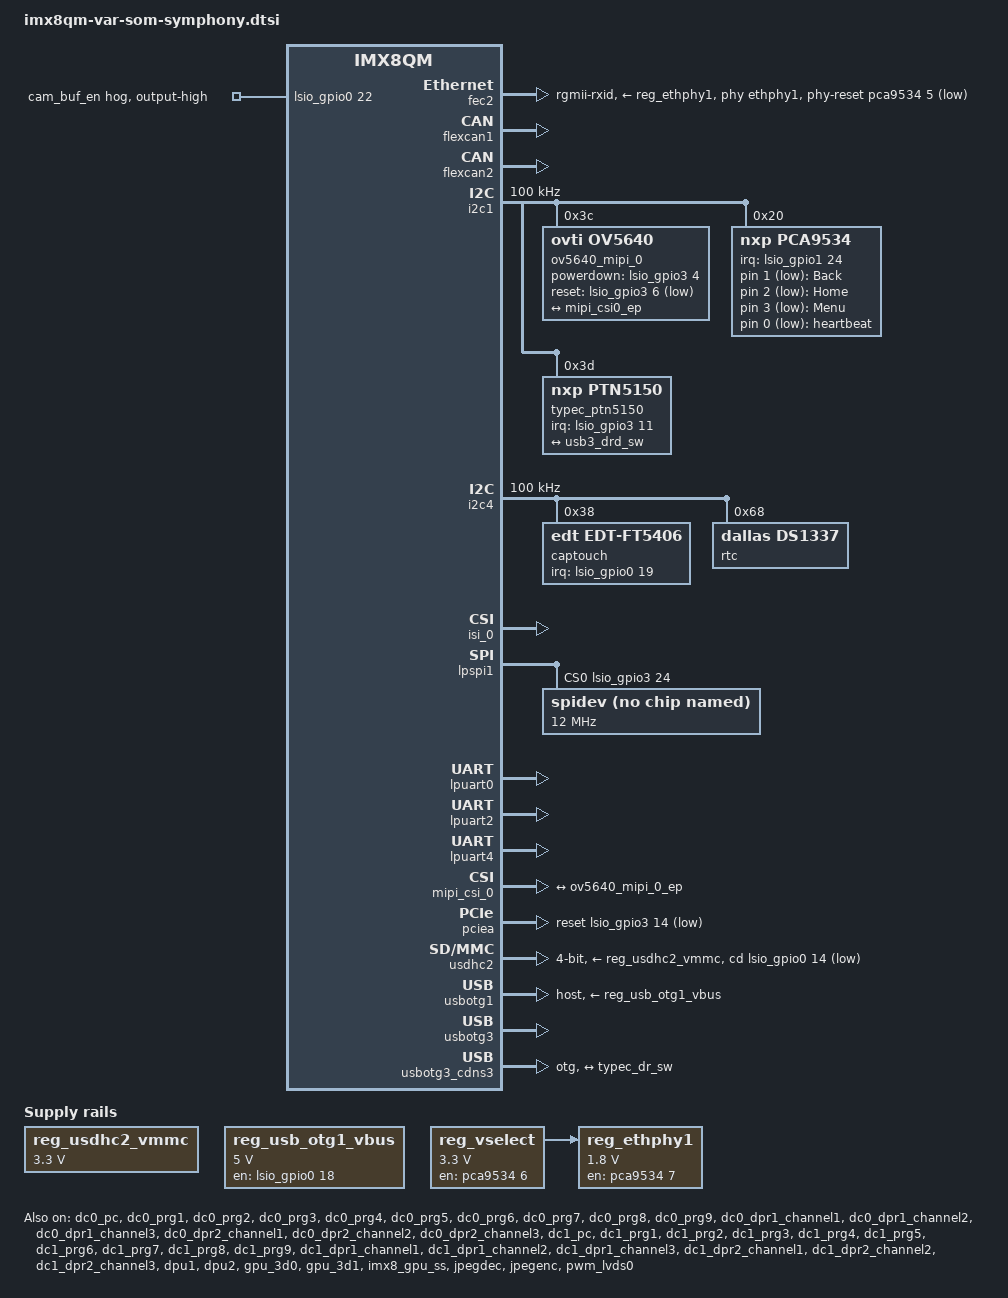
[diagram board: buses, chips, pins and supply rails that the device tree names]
/*
 * Copyright (C) 2016 Freescale Semiconductor, Inc.
 * Copyright 2017 NXP
 * Copyright 2019-2022 Variscite Ltd.
 *
 * This program is free software; you can redistribute it and/or
 * modify it under the terms of the GNU General Public License
 * as published by the Free Software Foundation; either version 2
 * of the License, or (at your option) any later version.
 *
 * This program is distributed in the hope that it will be useful,
 * but WITHOUT ANY WARRANTY; without even the implied warranty of
 * MERCHANTABILITY or FITNESS FOR A PARTICULAR PURPOSE.  See the
 * GNU General Public License for more details.
 */

#include "imx8qm-var-som.dtsi"

/ {
	chosen {
		stdout-path = &lpuart0;
	};

        gpio-keys {
                compatible = "gpio-keys";

                back {
			label = "Back";
			gpios = <&pca9534 1 GPIO_ACTIVE_LOW>;
			linux,code = <KEY_BACK>;
                };

		home {
			label = "Home";
			gpios = <&pca9534 2 GPIO_ACTIVE_LOW>;
			linux,code = <KEY_HOME>;
		};

                menu {
			label = "Menu";
			gpios = <&pca9534 3 GPIO_ACTIVE_LOW>;
			linux,code = <KEY_MENU>;
                };
        };

        leds {
                compatible = "gpio-leds";
                status = "okay";

		heartbeat {
			label = "heartbeat";
			gpios = <&pca9534 0 GPIO_ACTIVE_LOW>;
			linux,default-trigger = "heartbeat";
		};
	};

	regulators: regulators {
		reg_ethphy1: regulator-ethphy1 {
			compatible = "regulator-fixed";
			vin-supply = <&reg_vselect>;
			regulator-name = "reg_ethphy1";
			regulator-min-microvolt = <1800000>;
			regulator-max-microvolt = <1800000>;
			gpio = <&pca9534 7 GPIO_ACTIVE_HIGH>;
			enable-active-high;
			regulator-always-on;
		};

		reg_usdhc2_vmmc: usdhc2_vmmc {
			compatible = "regulator-fixed";
			regulator-name = "sw-3p3-sd1";
			regulator-min-microvolt = <3300000>;
			regulator-max-microvolt = <3300000>;
			regulator-always-on;
		};

		reg_usb_otg1_vbus: usb_otg1_vbus {
			compatible = "regulator-fixed";
			regulator-name = "usb_otg1_vbus";
			regulator-min-microvolt = <5000000>;
			regulator-max-microvolt = <5000000>;
			gpio = <&lsio_gpio0 18 GPIO_ACTIVE_HIGH>;
			enable-active-high;
		};

		reg_vselect: regulator-vselect {
			compatible = "regulator-fixed";
			regulator-name = "reg_vselect";
			regulator-min-microvolt = <3300000>;
			regulator-max-microvolt = <3300000>;
			regulator-always-on;
			gpio = <&pca9534 6 GPIO_ACTIVE_HIGH>;
			enable-active-high;
		};
	};
};

&dc0_pc {
	status = "okay";
};

&dc0_prg1 {
	status = "okay";
};

&dc0_prg2 {
	status = "okay";
};

&dc0_prg3 {
	status = "okay";
};

&dc0_prg4 {
	status = "okay";
};

&dc0_prg5 {
	status = "okay";
};

&dc0_prg6 {
	status = "okay";
};

&dc0_prg7 {
	status = "okay";
};

&dc0_prg8 {
	status = "okay";
};

&dc0_prg9 {
	status = "okay";
};

&dc0_dpr1_channel1 {
	status = "okay";
};

&dc0_dpr1_channel2 {
	status = "okay";
};

&dc0_dpr1_channel3 {
	status = "okay";
};

&dc0_dpr2_channel1 {
	status = "okay";
};

&dc0_dpr2_channel2 {
	status = "okay";
};

&dc0_dpr2_channel3 {
	status = "okay";
};

&dc1_pc {
	status = "okay";
};

&dc1_prg1 {
	status = "okay";
};

&dc1_prg2 {
	status = "okay";
};

&dc1_prg3 {
	status = "okay";
};

&dc1_prg4 {
	status = "okay";
};

&dc1_prg5 {
	status = "okay";
};

&dc1_prg6 {
	status = "okay";
};

&dc1_prg7 {
	status = "okay";
};

&dc1_prg8 {
	status = "okay";
};

&dc1_prg9 {
	status = "okay";
};

&dc1_dpr1_channel1 {
	status = "okay";
};

&dc1_dpr1_channel2 {
	status = "okay";
};

&dc1_dpr1_channel3 {
	status = "okay";
};

&dc1_dpr2_channel1 {
	status = "okay";
};

&dc1_dpr2_channel2 {
	status = "okay";
};

&dc1_dpr2_channel3 {
	status = "okay";
};

&dpu1 {
	status = "okay";
};

&dpu2 {
	status = "okay";
};

&fec2 {
	pinctrl-names = "default";
	pinctrl-0 = <&pinctrl_fec2>;
	phy-mode = "rgmii-rxid";
	phy-handle = <&ethphy1>;
	fsl,magic-packet;
	phy-supply = <&reg_ethphy1>;
	phy-reset-gpios = <&pca9534 5 GPIO_ACTIVE_LOW>;
	phy-reset-duration = <10>;
	phy-reset-post-delay = <20>;
	status = "okay";
};

&flexcan1 {
	pinctrl-names = "default";
	pinctrl-0 = <&pinctrl_flexcan1>;
	status = "okay";
};

&flexcan2 {
	pinctrl-names = "default";
	pinctrl-0 = <&pinctrl_flexcan2>;
	status = "okay";
};

&flexspi0 {
	status = "disabled";
};

&gpu_3d0 {
	status = "okay";
};

&gpu_3d1 {
	status = "okay";
};

&i2c1 {
	#address-cells = <1>;
	#size-cells = <0>;
	clock-frequency = <100000>;
	pinctrl-names = "default";
	pinctrl-0 = <&pinctrl_i2c1>;
	status = "okay";

	/* MIPI-CSI2 sensor */
	ov5640_mipi_0: ov5640_mipi@3c {
		compatible = "ovti,ov5640";
		reg = <0x3c>;
		pinctrl-names = "default";
		pinctrl-0 = <&pinctrl_mipicsi0>;
		clocks = <&xtal24m>;
		clock-names = "xclk";
		csi_id = <0>;
		powerdown-gpios = <&lsio_gpio3 4 GPIO_ACTIVE_HIGH>;
		reset-gpios = <&lsio_gpio3 6 GPIO_ACTIVE_LOW>;
		mclk = <24000000>;
		mclk_source = <0>;
		mipi_csi;
		status = "okay";
		port {
			ov5640_mipi_0_ep: endpoint {
				remote-endpoint = <&mipi_csi0_ep>;
				data-lanes = <1 2>;
				clocks-lanes = <0>;
			};
		};
	};

	/* GPIO Expander */
        pca9534: gpio@20 {
                compatible = "nxp,pca9534";
                reg = <0x20>;
                pinctrl-names = "default";
                pinctrl-0 = <&pinctrl_pca9534>;
                interrupt-parent = <&lsio_gpio1>;
                interrupts = <24 IRQ_TYPE_LEVEL_LOW>;
		gpio-controller;
		#gpio-cells = <2>;
		status ="okay";
        };

	/* USB Type-C Controller */
	typec_ptn5150: typec@3d {
		compatible = "nxp,ptn5150";
		pinctrl-names = "default";
		pinctrl-0 = <&pinctrl_ptn5150>;
		reg = <0x3d>;
		interrupt-parent = <&lsio_gpio3>;
		interrupts = <11 IRQ_TYPE_LEVEL_HIGH>;
		irq-is-id-quirk;
		status ="okay";

		port {
			typec_dr_sw: endpoint {
				remote-endpoint = <&usb3_drd_sw>;
			};
		};
	};
};

&i2c4 {
	#address-cells = <1>;
	#size-cells = <0>;
	clock-frequency = <100000>;
	pinctrl-names = "default";
	pinctrl-0 = <&pinctrl_i2c4>;
	status = "okay";

	/* Capacitive touch */
	captouch: ft5x06_ts@38 {
		pinctrl-names = "default";
		pinctrl-0 = <&pinctrl_captouch>;
		compatible = "edt,edt-ft5406";
		reg = <0x38>;
		interrupt-parent = <&lsio_gpio0>;
		interrupts = <19 IRQ_TYPE_EDGE_FALLING>;
		touchscreen-size-x = <800>;
		touchscreen-size-y = <480>;
		touchscreen-inverted-x;
		touchscreen-inverted-y;
		status = "okay";
	};

	/* DS1337 RTC module */
	rtc@68 {
		compatible = "dallas,ds1337";
		reg = <0x68>;
		status = "okay";
	};
};

&iomuxc {
	pinctrl-names = "default";

	imx8qm-var-som {
		pinctrl_captouch: captouchgrp {
			fsl,pins = <
				IMX8QM_GPT1_COMPARE_LSIO_GPIO0_IO19			0x06000021
				/* Workaround for capacitive touch problem on Symphony board 1.1 */
				IMX8QM_GPT0_COMPARE_LSIO_GPIO0_IO16			0x06000021
			>;
		};

		pinctrl_fec2: fec2grp {
			fsl,pins = <
				IMX8QM_ENET1_RGMII_TX_CTL_CONN_ENET1_RGMII_TX_CTL	0x06000048
				IMX8QM_ENET1_RGMII_TXC_CONN_ENET1_RGMII_TXC		0x06000048
				IMX8QM_ENET1_RGMII_TXD0_CONN_ENET1_RGMII_TXD0		0x06000048
				IMX8QM_ENET1_RGMII_TXD1_CONN_ENET1_RGMII_TXD1		0x06000048
				IMX8QM_ENET1_RGMII_TXD2_CONN_ENET1_RGMII_TXD2		0x06000048
				IMX8QM_ENET1_RGMII_TXD3_CONN_ENET1_RGMII_TXD3		0x06000048
				IMX8QM_ENET1_RGMII_RXC_CONN_ENET1_RGMII_RXC		0x06000048
				IMX8QM_ENET1_RGMII_RX_CTL_CONN_ENET1_RGMII_RX_CTL	0x06000048
				IMX8QM_ENET1_RGMII_RXD0_CONN_ENET1_RGMII_RXD0		0x06000048
				IMX8QM_ENET1_RGMII_RXD1_CONN_ENET1_RGMII_RXD1		0x06000048
				IMX8QM_ENET1_RGMII_RXD2_CONN_ENET1_RGMII_RXD2		0x06000048
				IMX8QM_ENET1_RGMII_RXD3_CONN_ENET1_RGMII_RXD3		0x06000048
			>;
		};

		pinctrl_flexcan1: flexcan0grp {
			fsl,pins = <
				IMX8QM_FLEXCAN0_TX_DMA_FLEXCAN0_TX			0x00000021
				IMX8QM_FLEXCAN0_RX_DMA_FLEXCAN0_RX			0x00000021
			>;
		};

		pinctrl_flexcan2: flexcan1grp {
			fsl,pins = <
				IMX8QM_FLEXCAN1_TX_DMA_FLEXCAN1_TX			0x00000021
				IMX8QM_FLEXCAN1_RX_DMA_FLEXCAN1_RX			0x00000021
			>;
		};

		pinctrl_hdmi_i2c: hdmii2cgrp  {
			fsl,pins = <
				IMX8QM_MIPI_DSI1_GPIO0_00_LSIO_GPIO1_IO22		0x00000041
			>;
		};

		pinctrl_i2c1: i2c1grp {
			fsl,pins = <
				IMX8QM_USB_SS3_TC3_DMA_I2C1_SDA				0xc6000020
				IMX8QM_USB_SS3_TC1_DMA_I2C1_SCL				0xc6000020
			>;
		};

		pinctrl_i2c4: i2c4grp {
			fsl,pins = <
				IMX8QM_ENET1_MDC_DMA_I2C4_SCL				0xc6000020
				IMX8QM_ENET1_MDIO_DMA_I2C4_SDA				0xc6000020
			>;
		};

		pinctrl_lpspi1: lpspi1grp {
			fsl,pins = <
				IMX8QM_ADC_IN3_DMA_SPI1_SCK				0x0600004c
				IMX8QM_ADC_IN4_DMA_SPI1_SDO				0x0600004c
				IMX8QM_ADC_IN5_DMA_SPI1_SDI				0x0600004c
			>;
		};

		pinctrl_lpspi1_cs: lpspi1csgrp {
			fsl,pins = <
				IMX8QM_ADC_IN6_LSIO_GPIO3_IO24				0x00000021
			>;
		};

		pinctrl_lpuart0: lpuart0grp {
			fsl,pins = <
				IMX8QM_UART0_RX_DMA_UART0_RX				0x06000020
				IMX8QM_UART0_TX_DMA_UART0_TX				0x06000020
			>;
		};

		pinctrl_lpuart2: lpuart2grp {
			fsl,pins = <
				IMX8QM_LVDS0_I2C1_SCL_DMA_UART2_TX			0x06000020
				IMX8QM_LVDS0_I2C1_SDA_DMA_UART2_RX			0x06000020
			>;
		};

		pinctrl_lpuart4: lpuart4grp {
			fsl,pins = <
				IMX8QM_M40_GPIO0_01_DMA_UART4_TX			0x06000020
				IMX8QM_M40_GPIO0_00_DMA_UART4_RX			0x06000020
			>;
		};

		pinctrl_mipicsi0: mipicsi0grp {
			fsl,pins = <
				IMX8QM_UART0_RTS_B_LSIO_GPIO0_IO22			0x00000021 /* CAM_BUF_EN */
				IMX8QM_SPI0_CS1_LSIO_GPIO3_IO06				0x00000021 /* CAM_RST */
				IMX8QM_SPI0_SDI_LSIO_GPIO3_IO04				0x00000021 /* CAM_PWR */
			>;
		};

		pinctrl_pca9534: pca9534grp {
			fsl,pins = <
				IMX8QM_MIPI_CSI0_MCLK_OUT_LSIO_GPIO1_IO24		0x00000021
			>;
		};

		pinctrl_pciea: pcieagrp {
			fsl,pins = <
				IMX8QM_SAI1_RXFS_LSIO_GPIO3_IO14			0x00000021
			>;
		};

		pinctrl_ptn5150: ptn5150grp {
			fsl,pins = <
				IMX8QM_SPI2_CS1_LSIO_GPIO3_IO11				0x00000021
			>;
		};

		pinctrl_pwm_lvds0: lvds0pwm0grp {
			fsl,pins = <
				IMX8QM_LVDS0_GPIO00_LVDS0_PWM0_OUT			0x00000020
			>;
		};

		pinctrl_usbotg1: otg1grp {
			fsl,pins = <
				IMX8QM_GPT1_CAPTURE_LSIO_GPIO0_IO18			0x06000048
			>;
		};

		pinctrl_usdhc2_gpio: usdhc2grpgpio {
			fsl,pins = <
				IMX8QM_GPT0_CLK_LSIO_GPIO0_IO14				0x00000021
			>;
		};

		pinctrl_usdhc2: usdhc2grp {
			fsl,pins = <
				IMX8QM_USDHC1_CLK_CONN_USDHC1_CLK			0x06000041
				IMX8QM_USDHC1_CMD_CONN_USDHC1_CMD			0x00000021
				IMX8QM_USDHC1_DATA0_CONN_USDHC1_DATA0			0x00000021
				IMX8QM_USDHC1_DATA1_CONN_USDHC1_DATA1			0x00000021
				IMX8QM_USDHC1_DATA2_CONN_USDHC1_DATA2			0x00000021
				IMX8QM_USDHC1_DATA3_CONN_USDHC1_DATA3			0x00000021
				IMX8QM_USDHC1_VSELECT_CONN_USDHC1_VSELECT		0x00000021
			>;
		};

		pinctrl_usdhc2_100mhz: usdhc2grp100mhz {
			fsl,pins = <
				IMX8QM_USDHC1_CLK_CONN_USDHC1_CLK			0x06000040
				IMX8QM_USDHC1_CMD_CONN_USDHC1_CMD			0x00000020
				IMX8QM_USDHC1_DATA0_CONN_USDHC1_DATA0			0x00000020
				IMX8QM_USDHC1_DATA1_CONN_USDHC1_DATA1			0x00000020
				IMX8QM_USDHC1_DATA2_CONN_USDHC1_DATA2			0x00000020
				IMX8QM_USDHC1_DATA3_CONN_USDHC1_DATA3			0x00000020
				IMX8QM_USDHC1_VSELECT_CONN_USDHC1_VSELECT		0x00000020
			>;
		};

		pinctrl_usdhc2_200mhz: usdhc2grp200mhz {
			fsl,pins = <
				IMX8QM_USDHC1_CLK_CONN_USDHC1_CLK			0x06000040
				IMX8QM_USDHC1_CMD_CONN_USDHC1_CMD			0x00000020
				IMX8QM_USDHC1_DATA0_CONN_USDHC1_DATA0			0x00000020
				IMX8QM_USDHC1_DATA1_CONN_USDHC1_DATA1			0x00000020
				IMX8QM_USDHC1_DATA2_CONN_USDHC1_DATA2			0x00000020
				IMX8QM_USDHC1_DATA3_CONN_USDHC1_DATA3			0x00000020
				IMX8QM_USDHC1_VSELECT_CONN_USDHC1_VSELECT		0x00000020
			>;
		};
	};
};

&imx8_gpu_ss {
	status = "okay";
};

&isi_0 {
	status = "okay";

	cap_device {
		status = "okay";
	};

	m2m_device {
		status = "okay";
	};
};

&jpegdec {
       status = "okay";
};

&jpegenc {
       status = "okay";
};

&lpspi1 {
	#address-cells = <1>;
	#size-cells = <0>;
	fsl,spi-num-chipselects = <1>;
	pinctrl-names = "default";
	pinctrl-0 = <&pinctrl_lpspi1 &pinctrl_lpspi1_cs>;
	cs-gpios = <&lsio_gpio3 24 0>;
	status = "okay";

        spidev@0 {
		compatible = "var,spidev";
		spi-max-frequency = <12000000>;
		reg = <0>;
		status = "okay";
        };
};

&lpuart0 { /* console */
	pinctrl-names = "default";
	pinctrl-0 = <&pinctrl_lpuart0>;
	status = "okay";
};

&lpuart2 { /* header */
	pinctrl-names = "default";
	pinctrl-0 = <&pinctrl_lpuart2>;
	status = "okay";
};

&lpuart4 { /* header */
	pinctrl-names = "default";
	pinctrl-0 = <&pinctrl_lpuart4>;
	status = "okay";
};

&lsio_gpio0 {
	/* Enable wakeup-source from Capacitive touch */

	pad-wakeup-num = <1>;	/* Total number of wakeup pads in gpio0 bank */

	/*
	 IMX8QM_GPT1_COMPARE:   Touch IRQ pin id
	 SC_PAD_WAKEUP_LOW_LVL: trigger type
	 19:                    Touch IRQ gpio pin
	*/
	pad-wakeup = <IMX8QM_GPT1_COMPARE SC_PAD_WAKEUP_LOW_LVL 19>;

	cam_buf_hog {
		gpio-hog;
		gpios = <22 0>;
		output-high;
		line-name = "cam_buf_en";
	};
};

&lsio_gpio1 {
	/* Enable wakeup-source from all pca9534 gpio-keys*/

	pad-wakeup-num = <1>;	/* Total number of wakeup pads in gpio1 bank */

	/*
	 IMX8QM_MIPI_CSI0_MCLK_OUT: PCA9534 IRQ pin id
	 SC_PAD_WAKEUP_LOW_LVL:     trigger type
	 24:                        PCA9534 IRQ gpio pin
	*/
	pad-wakeup = <IMX8QM_MIPI_CSI0_MCLK_OUT SC_PAD_WAKEUP_LOW_LVL 24>;
};

&mipi_csi_0 {
	#address-cells = <1>;
	#size-cells = <0>;
	status = "okay";

	/* Camera 0  MIPI CSI-2 (CSIS0) */
	port@0 {
		reg = <0>;
		mipi_csi0_ep: endpoint {
			remote-endpoint = <&ov5640_mipi_0_ep>;
			data-lanes = <1 2>;
		};
	};
};

&mipi_csi_1 {
	status = "disabled";
};

&pciea{
	ext_osc = <1>;
	pinctrl-names = "default";
	pinctrl-0 = <&pinctrl_pciea>;
	reset-gpio = <&lsio_gpio3 14 GPIO_ACTIVE_LOW>;
	status = "okay";
};

&pcieb{
	status = "disabled";
};

&pca9534 {
        usb3_signal_route {
                gpio-hog;
                gpios = <4 GPIO_ACTIVE_HIGH>;
                output-low;
                line-name = "usb3_signal_route";
        };
};

&pwm_lvds0 {
        pinctrl-names = "default";
        pinctrl-0 = <&pinctrl_pwm_lvds0>;
        status = "okay";
};

&usdhc2 {
	pinctrl-names = "default", "state_100mhz", "state_200mhz";
	pinctrl-0 = <&pinctrl_usdhc2>, <&pinctrl_usdhc2_gpio>;
	pinctrl-1 = <&pinctrl_usdhc2_100mhz>, <&pinctrl_usdhc2_gpio>;
	pinctrl-2 = <&pinctrl_usdhc2_200mhz>, <&pinctrl_usdhc2_gpio>;
	bus-width = <4>;
	cd-gpios = <&lsio_gpio0 14 GPIO_ACTIVE_LOW>;
	vmmc-supply = <&reg_usdhc2_vmmc>;
	status = "okay";
};

&usbphy1 {
	status = "okay";
};

&usbotg1 {
	pinctrl-names = "default";
	pinctrl-0 = <&pinctrl_usbotg1>;
	vbus-supply = <&reg_usb_otg1_vbus>;
	srp-disable;
	hnp-disable;
	adp-disable;
	disable-over-current;
	dr_mode = "host";
	status = "okay";
};

&usb3_phy {
	status = "okay";
};

&usbotg3 {
	status = "okay";
};

&usbotg3_cdns3 {
	dr_mode = "otg";
	usb-role-switch;
	status = "okay";

	port {
		usb3_drd_sw: endpoint {
			remote-endpoint = <&typec_dr_sw>;
		};
	};
};

&vpu_decoder {
	status = "okay";
};

&vpu_encoder {
	status = "okay";
};

/delete-node/ &adma_pwm;
/delete-node/ &adma_pwm_lpcg;
